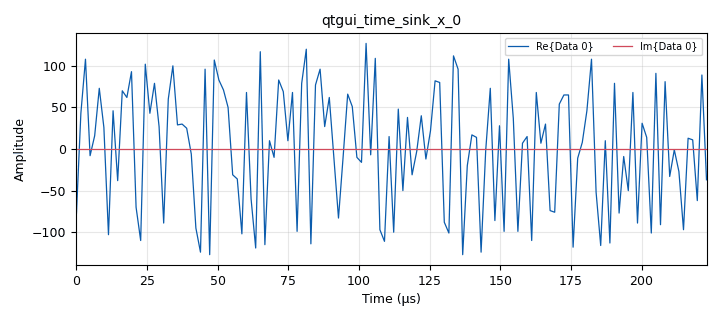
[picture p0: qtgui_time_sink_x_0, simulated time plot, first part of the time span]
<?xml version='1.0' encoding='utf-8'?>
<?grc format='1' created='3.7.10'?>
<flow_graph>
<block>
<key>options</key>
<param><key>id</key><value>top_block</value></param>
<param><key>category</key><value>Custom</value></param>
<param><key>generate_options</key><value>qt_gui</value></param>
</block>
<block>
<key>variable</key>
<param><key>id</key><value>rf_bw</value></param>
<param><key>value</key><value>100e3</value></param>
</block>
<block>
<key>variable</key>
<param><key>id</key><value>rf_freq</value></param>
<param><key>value</key><value>145e6</value></param>
</block>
<block>
<key>variable</key>
<param><key>id</key><value>samp_rate</value></param>
<param><key>value</key><value>614400</value></param>
</block>
<block>
<key>analog_const_source_x</key>
<param><key>id</key><value>analog_const_source_x_0</value></param>
<param><key>const</key><value>0</value></param>
<param><key>type</key><value>float</value></param>
</block>
<block>
<key>blocks_char_to_float</key>
<param><key>id</key><value>blocks_char_to_float_0</value></param>
<param><key>scale</key><value>1</value></param>
</block>
<block>
<key>blocks_float_to_complex</key>
<param><key>id</key><value>blocks_float_to_complex_0</value></param>
</block>
<block>
<key>blocks_message_strobe</key>
<param><key>id</key><value>blocks_message_strobe_0</value></param>
<param><key>msg</key><value>pmt.intern("TEST")</value></param>
<param><key>period</key><value>1000</value></param>
</block>
<block>
<key>blocks_packed_to_unpacked_xx</key>
<param><key>id</key><value>blocks_packed_to_unpacked_xx_0</value></param>
<param><key>bits_per_chunk</key><value>1</value></param>
<param><key>_enabled</key><value>2</value></param>
<param><key>endianness</key><value>gr.GR_MSB_FIRST</value></param>
<param><key>type</key><value>byte</value></param>
</block>
<block>
<key>blocks_pdu_to_tagged_stream</key>
<param><key>id</key><value>blocks_pdu_to_tagged_stream_0</value></param>
<param><key>type</key><value>byte</value></param>
<param><key>tag</key><value>packet_len</value></param>
</block>
<block>
<key>blocks_random_pdu</key>
<param><key>id</key><value>blocks_random_pdu_0</value></param>
<param><key>mask</key><value>0xFF</value></param>
<param><key>length_modulo</key><value>2</value></param>
<param><key>maxsize</key><value>2000</value></param>
<param><key>minsize</key><value>2000</value></param>
</block>
<block>
<key>es_source</key>
<param><key>id</key><value>es_source_0</value></param>
<param><key>eb</key><value>discard</value></param>
<param><key>_enabled</key><value>0</value></param>
<param><key>nthreads</key><value>1</value></param>
<param><key>type</key><value>byte</value></param>
<param><key>num_streams</key><value>1</value></param>
</block>
<block>
<key>pyqt_text_input</key>
<param><key>id</key><value>pyqt_text_input_0</value></param>
<param><key>_enabled</key><value>0</value></param>
</block>
<block>
<key>qtgui_time_sink_x</key>
<param><key>id</key><value>qtgui_time_sink_x_0</value></param>
<param><key>autoscale</key><value>True</value></param>
<param><key>color1</key><value>"blue"</value></param>
<param><key>label1</key><value></value></param>
<param><key>color2</key><value>"red"</value></param>
<param><key>label2</key><value></value></param>
<param><key>size</key><value>1024</value></param>
<param><key>srate</key><value>samp_rate</value></param>
<param><key>tr_level</key><value>0.5</value></param>
<param><key>tr_mode</key><value>qtgui.TRIG_MODE_NORM</value></param>
<param><key>type</key><value>complex</value></param>
</block>
<block>
<key>uhd_usrp_sink</key>
<param><key>id</key><value>uhd_usrp_sink_0</value></param>
<param><key>ant0</key><value></value></param>
<param><key>bw0</key><value>rf_bw</value></param>
<param><key>center_freq0</key><value>rf_freq</value></param>
<param><key>norm_gain0</key><value>False</value></param>
<param><key>gain0</key><value>0</value></param>
<param><key>clock_rate</key><value>30.72e6</value></param>
<param><key>dev_args</key><value>""</value></param>
<param><key>type</key><value>fc32</value></param>
<param><key>samp_rate</key><value>samp_rate</value></param>
<param><key>hide_cmd_port</key><value>False</value></param>
<param><key>sync</key><value></value></param>
<param><key>len_tag_name</key><value>packet_len</value></param>
<param><key>otw</key><value>sc12</value></param>
</block>
<connection><source_block_id>analog_const_source_x_0</source_block_id><sink_block_id>blocks_float_to_complex_0</sink_block_id><source_key>0</source_key><sink_key>1</sink_key></connection>
<connection><source_block_id>blocks_char_to_float_0</source_block_id><sink_block_id>blocks_float_to_complex_0</sink_block_id><source_key>0</source_key><sink_key>0</sink_key></connection>
<connection><source_block_id>blocks_float_to_complex_0</source_block_id><sink_block_id>qtgui_time_sink_x_0</sink_block_id><source_key>0</source_key><sink_key>0</sink_key></connection>
<connection><source_block_id>blocks_float_to_complex_0</source_block_id><sink_block_id>uhd_usrp_sink_0</sink_block_id><source_key>0</source_key><sink_key>0</sink_key></connection>
<connection><source_block_id>blocks_message_strobe_0</source_block_id><sink_block_id>blocks_random_pdu_0</sink_block_id><source_key>strobe</source_key><sink_key>generate</sink_key></connection>
<connection><source_block_id>blocks_packed_to_unpacked_xx_0</source_block_id><sink_block_id>blocks_char_to_float_0</sink_block_id><source_key>0</source_key><sink_key>0</sink_key></connection>
<connection><source_block_id>blocks_pdu_to_tagged_stream_0</source_block_id><sink_block_id>blocks_packed_to_unpacked_xx_0</sink_block_id><source_key>0</source_key><sink_key>0</sink_key></connection>
<connection><source_block_id>blocks_random_pdu_0</source_block_id><sink_block_id>blocks_pdu_to_tagged_stream_0</sink_block_id><source_key>pdus</source_key><sink_key>pdus</sink_key></connection>
<connection><source_block_id>es_source_0</source_block_id><sink_block_id>blocks_packed_to_unpacked_xx_0</sink_block_id><source_key>0</source_key><sink_key>0</sink_key></connection>
<connection><source_block_id>pyqt_text_input_0</source_block_id><sink_block_id>blocks_pdu_to_tagged_stream_0</sink_block_id><source_key>pdus</source_key><sink_key>pdus</sink_key></connection>
<connection><source_block_id>pyqt_text_input_0</source_block_id><sink_block_id>es_source_0</sink_block_id><source_key>pdus</source_key><sink_key>schedule_event</sink_key></connection>
</flow_graph>
